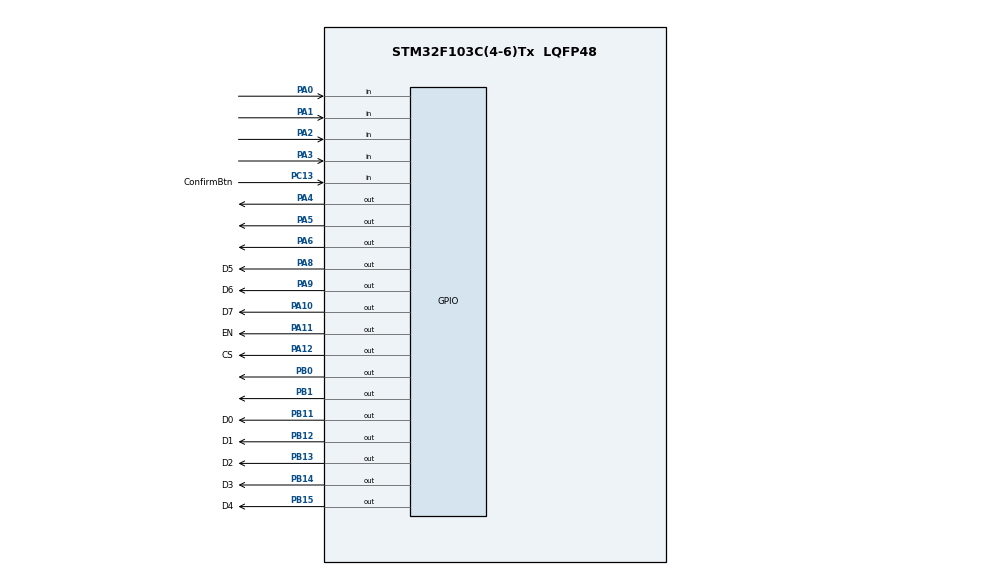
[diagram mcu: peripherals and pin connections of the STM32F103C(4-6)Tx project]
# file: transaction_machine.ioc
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Mcu.Family=STM32F1
Mcu.Name=STM32F103C(4-6)Tx
Mcu.Package=LQFP48
NVIC.PriorityGroup=NVIC_PRIORITYGROUP_4
PA0-WKUP.GPIO_PuPd=GPIO_PULLUP
PA0-WKUP.Signal=GPIO_Input
PA1.GPIO_PuPd=GPIO_PULLUP
PA1.Signal=GPIO_Input
PA10.GPIO_Label=D7
PA10.Signal=GPIO_Output
PA11.GPIO_Label=EN
PA11.Signal=GPIO_Output
PA12.GPIO_Label=CS
PA12.Signal=GPIO_Output
PA13.Mode=Serial_Wire
PA13.Signal=SYS_JTMS-SWDIO
PA14.Mode=Serial_Wire
PA14.Signal=SYS_JTCK-SWCLK
PA2.GPIO_PuPd=GPIO_PULLUP
PA2.Signal=GPIO_Input
PA3.GPIO_PuPd=GPIO_PULLUP
PA3.Signal=GPIO_Input
PA4.Signal=GPIO_Output
PA5.Signal=GPIO_Output
PA6.Signal=GPIO_Output
PA8.GPIO_Label=D5
PA8.Signal=GPIO_Output
PA9.GPIO_Label=D6
PA9.Signal=GPIO_Output
PB0.PinState=GPIO_PIN_RESET
PB0.Signal=GPIO_Output
PB1.Signal=GPIO_Output
PB11.GPIO_Label=D0
PB11.Signal=GPIO_Output
PB12.GPIO_Label=D1
PB12.Signal=GPIO_Output
PB13.GPIO_Label=D2
PB13.Signal=GPIO_Output
PB14.GPIO_Label=D3
PB14.Signal=GPIO_Output
PB15.GPIO_Label=D4
PB15.Signal=GPIO_Output
PC13-TAMPER-RTC.GPIO_Label=ConfirmBtn
PC13-TAMPER-RTC.Signal=GPIO_Input
PD0-OSC_IN.Mode=HSE-External-Clock-Source
PD0-OSC_IN.Signal=RCC_OSC_IN
PD1-OSC_OUT.Mode=HSE-External-Clock-Source
PD1-OSC_OUT.Signal=RCC_OSC_OUT
ProjectManager.HeapSize=0x200
ProjectManager.StackSize=0x400
ProjectManager.TargetToolchain=MDK-ARM V5.32
RCC.APB1Freq_Value=8000000
RCC.APB2Freq_Value=8000000
board=custom

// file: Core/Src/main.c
/* USER CODE BEGIN Header */
/**
  ******************************************************************************
  * @file           : main.c
  * @brief          : Main program body
  ******************************************************************************
  * @attention
  *
  * <h2><center>&copy; Copyright (c) 2021 STMicroelectronics.
  * All rights reserved.</center></h2>
  *
  * This software component is licensed by ST under BSD 3-Clause license,
  * the "License"; You may not use this file except in compliance with the
  * License. You may obtain a copy of the License at:
  *                        opensource.org/licenses/BSD-3-Clause
  *
  ******************************************************************************
  */
/* USER CODE END Header */
#include "main.h"

/* USER CODE BEGIN Includes */
#include "CLCD.h"
#include <stdio.h>
#include "KEYPAD.h"
#include <string.h>
/* USER CODE END Includes */

/* USER CODE BEGIN PV */
CLCD_Name LCD1;
char LCD_send[16];
char Key;

char accountUser[] = "20172514";
char passwordUser[] = "080799";
char accountType[8];
char passwordType[6];
char CodeType[6];
char Code1[] = "123456080799";
char Code2[] = "123789080799";

char classInfo1Reason1[3][21] = {"Software Technology","123456","Full class"};
char classInfo1Reason2[3][21] = {"Software Technology","123456","Coincident date"};
char classInfo1Reason3[3][21] = {"Software Technology","123456","Credit limitation"};

char classInfo2Reason1[3][21] = {"Digital processing","123789","Full class"};
char classInfo2Reason2[3][21] = {"Digital processing","123789","Coincident date"};
char classInfo2Reason3[3][21] = {"Digital processing","123789","Credit limitation"};

int classType1 = 0;
int classType2 = 0;
int classOrder = 0;
int classCount = 0;
unsigned int currentPosition = 0;

KEYPAD_Name KeyPad;
char KEYMAP[NUMROWS][NUMCOLS] = {
{'1','2','3'},
{'4','5','6'},
{'7','8','9'},
{'*','0','#'}
};
/* USER CODE END PV */

void SystemClock_Config(void);
static void MX_GPIO_Init(void);

int main(void)
{

  /* MCU Configuration--------------------------------------------------------*/

  /* Reset of all peripherals, Initializes the Flash interface and the Systick. */
  HAL_Init();

  /* Configure the system clock */
  SystemClock_Config();

  /* Initialize all configured peripherals */
  MX_GPIO_Init();
  /* USER CODE BEGIN 2 */
	CLCD_8BIT_Init(&LCD1, 20, 4, CS_GPIO_Port, CS_Pin, EN_GPIO_Port, EN_Pin,
									D0_GPIO_Port, D0_Pin, D1_GPIO_Port, D1_Pin,
									D2_GPIO_Port, D2_Pin, D3_GPIO_Port, D3_Pin,
									D4_GPIO_Port, D4_Pin, D5_GPIO_Port, D5_Pin,
									D6_GPIO_Port, D6_Pin, D7_GPIO_Port, D7_Pin);

	KEYPAD3X4_Init(&KeyPad, KEYMAP, GPIOA, GPIO_PIN_4, GPIOA, GPIO_PIN_5, GPIOA, GPIO_PIN_6,
																	GPIOA, GPIO_PIN_0, GPIOA, GPIO_PIN_1,
																	GPIOA, GPIO_PIN_2, GPIOA, GPIO_PIN_3);

		Login: CLCD_Clear(&LCD1);
		CLCD_SetCursor(&LCD1, 0, 0);
		CLCD_WriteString(&LCD1, "Please Login!");

			while (1) {
				if (HAL_GPIO_ReadPin(ConfirmBtn_GPIO_Port, ConfirmBtn_Pin) == 1) {
					break;
				}
				HAL_Delay(100);
			}

		TypeAgain: currentPosition = 0;
		CLCD_Clear(&LCD1);
		CLCD_SetCursor(&LCD1, 0, 0);
		CLCD_WriteString(&LCD1, "Type account: ");

  /* USER CODE END 2 */

  /* Infinite loop */
  /* USER CODE BEGIN WHILE */
  while (1)
  {
		CLCD_SetCursor(&LCD1, currentPosition, 1);
		CLCD_CursorOn(&LCD1);
		Key = KEYPAD3X4_Readkey(&KeyPad);
		if (Key == '*') {
					CLCD_CursorOff(&LCD1);
			currentPosition = 0;
					goto TypeAgain;
				}
		if (Key == '#') {
					CLCD_CursorOff(&LCD1);
			currentPosition = 0;
					goto Login;
				}
		if (Key) {

			accountType[currentPosition] = Key;
			CLCD_WriteChar(&LCD1, Key);
			currentPosition++;
		}
		HAL_Delay(100);
		if (currentPosition == 8) {
			currentPosition = 0;
			CLCD_CursorOff(&LCD1);
			break;
		}

  }

	Key = NULL;
			while (1) {
				if (HAL_GPIO_ReadPin(ConfirmBtn_GPIO_Port, ConfirmBtn_Pin) == 1) {
					break;
				}
				Key = KEYPAD3X4_Readkey(&KeyPad);
			if(Key == '#') {
				break;
			}
			if(Key == '*') {
				break;
			}

				HAL_Delay(100);
			}
			if (Key == '#') {
				goto Login;
			}
			if (Key == '*') {

					goto TypeAgain;
				}

	CLCD_SetCursor(&LCD1, 0, 2);
	CLCD_WriteString(&LCD1, "Type password: ");

	while (1)
  {
		CLCD_SetCursor(&LCD1, currentPosition, 3);
		CLCD_CursorOn(&LCD1);
		Key = KEYPAD3X4_Readkey(&KeyPad);

		if (Key == '*') {
					CLCD_CursorOff(&LCD1);
			currentPosition = 0;
					goto TypeAgain;
				}
		if (Key == '#') {
					CLCD_CursorOff(&LCD1);
			currentPosition = 0;
					goto Login;
				}
		if(Key) {

		passwordType[currentPosition] = Key;
		CLCD_WriteString(&LCD1, "*");
			currentPosition++;
		}
		HAL_Delay(100);

		if (currentPosition == 6) {
			currentPosition = 0;
			CLCD_CursorOff(&LCD1);
			break;
		}

  }

	Key = NULL;
			while (1) {
				if (HAL_GPIO_ReadPin(ConfirmBtn_GPIO_Port, ConfirmBtn_Pin) == 1) {
					break;
				}
				Key = KEYPAD3X4_Readkey(&KeyPad);
			if(Key == '#') {
				break;
			}
			if (Key == '*') {

					break;
				}

				HAL_Delay(100);
			}
			if (Key == '#') {
				goto Login;
			}
			if (Key == '*') {

					goto TypeAgain;
				}

	if(strcmp(accountUser, accountType)==0 && strcmp(passwordUser, passwordType)==0){
		CLCD_Clear(&LCD1);
		CLCD_SetCursor(&LCD1, 0, 0);
		CLCD_WriteString(&LCD1, "Welcome!");
		HAL_Delay(2000);

		ChooseFunction: CLCD_Clear(&LCD1);
		CLCD_SetCursor(&LCD1, 0, 0);
		CLCD_WriteString(&LCD1, "Tran Khuong Duy");
		CLCD_SetCursor(&LCD1, 0, 1);
		CLCD_WriteString(&LCD1, "20172514 DTVT08-K62");
		CLCD_SetCursor(&LCD1, 0, 2);
		CLCD_WriteString(&LCD1, "1.Apply Certificate");
		CLCD_SetCursor(&LCD1, 0, 3);
		CLCD_WriteString(&LCD1, "2.Register Class");

		Key = NULL;
		while(1) {
			Key = KEYPAD3X4_Readkey(&KeyPad);
			if(Key == '1' || Key == '2' || Key == '#') {
				break;
			}
			HAL_Delay(100);
		}

		if (Key == '1') {

			CLCD_Clear(&LCD1);
			CLCD_SetCursor(&LCD1, 0, 0);
			CLCD_WriteString(&LCD1, "Choose a objective:");
			CLCD_SetCursor(&LCD1, 0, 1);
			CLCD_WriteString(&LCD1, "1.Test TOEIC");
			CLCD_SetCursor(&LCD1, 0, 2);
			CLCD_WriteString(&LCD1, "2.Apply scholarship");
			CLCD_SetCursor(&LCD1, 0, 3);
			CLCD_WriteString(&LCD1, "3.Apply a job");

			Key = NULL;
		while(1) {
			Key = KEYPAD3X4_Readkey(&KeyPad);
			if(Key == '1' || Key == '2' || Key == '3' || Key == '#') {
				break;
			}

			HAL_Delay(100);
		}

			if (Key == '1') {

				CLCD_Clear(&LCD1);
				CLCD_SetCursor(&LCD1, 0, 0);
				CLCD_WriteString(&LCD1, "Confirm:");
				CLCD_SetCursor(&LCD1, 4, 1);
				CLCD_WriteString(&LCD1, "Tran Khuong Duy");
				CLCD_SetCursor(&LCD1, 0, 2);
				CLCD_WriteString(&LCD1, "SHSV: 20172514");
				CLCD_SetCursor(&LCD1, 0, 3);
				CLCD_WriteString(&LCD1, "Birthday: 8-7-1999");
				HAL_Delay(3000);

				CLCD_Clear(&LCD1);
				CLCD_SetCursor(&LCD1, 0, 0);
				CLCD_WriteString(&LCD1, "In: Vinh Phuc");
				CLCD_SetCursor(&LCD1, 0, 1);
				CLCD_WriteString(&LCD1, "Is student of class:");
				CLCD_SetCursor(&LCD1, 4, 2);
				CLCD_WriteString(&LCD1, "DTVT08-K62");
				CLCD_SetCursor(&LCD1, 0, 3);
				CLCD_WriteString(&LCD1, "Program: DHCQ");
				HAL_Delay(4000);

				CLCD_Clear(&LCD1);
				CLCD_SetCursor(&LCD1, 0, 0);
				CLCD_WriteString(&LCD1, "Objective:");
				CLCD_SetCursor(&LCD1, 4, 1);
				CLCD_WriteString(&LCD1, "Test TOEIC");
				CLCD_SetCursor(&LCD1, 0, 2);
				CLCD_WriteString(&LCD1, "Expiry date:");
				CLCD_SetCursor(&LCD1, 4, 3);
				CLCD_WriteString(&LCD1, "1-1-2022");
				HAL_Delay(3000);

			} else if (Key == '2') {
				CLCD_Clear(&LCD1);
				CLCD_SetCursor(&LCD1, 0, 0);
				CLCD_WriteString(&LCD1, "Confirm:");
				CLCD_SetCursor(&LCD1, 4, 1);
				CLCD_WriteString(&LCD1, "Tran Khuong Duy");
				CLCD_SetCursor(&LCD1, 0, 2);
				CLCD_WriteString(&LCD1, "SHSV: 20172514");
				CLCD_SetCursor(&LCD1, 0, 3);
				CLCD_WriteString(&LCD1, "Birthday: 8-7-1999");
				HAL_Delay(3000);

				CLCD_Clear(&LCD1);
				CLCD_SetCursor(&LCD1, 0, 0);
				CLCD_WriteString(&LCD1, "In: Vinh Phuc");
				CLCD_SetCursor(&LCD1, 0, 1);
				CLCD_WriteString(&LCD1, "Is student of class:");
				CLCD_SetCursor(&LCD1, 4, 2);
				CLCD_WriteString(&LCD1, "DTVT08-K62");
				CLCD_SetCursor(&LCD1, 0, 3);
				CLCD_WriteString(&LCD1, "Program: DHCQ");
				HAL_Delay(4000);

				CLCD_Clear(&LCD1);
				CLCD_SetCursor(&LCD1, 0, 0);
				CLCD_WriteString(&LCD1, "Objective:");
				CLCD_SetCursor(&LCD1, 3, 1);
				CLCD_WriteString(&LCD1, "Apply scholarship");
				CLCD_SetCursor(&LCD1, 0, 2);
				CLCD_WriteString(&LCD1, "Expiry date:");
				CLCD_SetCursor(&LCD1, 3, 3);
				CLCD_WriteString(&LCD1, "1-1-2022");
				HAL_Delay(3000);
			} else if (Key == '3') {
				CLCD_Clear(&LCD1);
				CLCD_SetCursor(&LCD1, 0, 0);
				CLCD_WriteString(&LCD1, "Confirm:");
				CLCD_SetCursor(&LCD1, 4, 1);
				CLCD_WriteString(&LCD1, "Tran Khuong Duy");
				CLCD_SetCursor(&LCD1, 0, 2);
				CLCD_WriteString(&LCD1, "SHSV: 20172514");
				CLCD_SetCursor(&LCD1, 0, 3);
				CLCD_WriteString(&LCD1, "Birthday: 8-7-1999");
				HAL_Delay(3000);

				CLCD_Clear(&LCD1);
				CLCD_SetCursor(&LCD1, 0, 0);
				CLCD_WriteString(&LCD1, "In: Vinh Phuc");
				CLCD_SetCursor(&LCD1, 0, 1);
				CLCD_WriteString(&LCD1, "Is student of class:");
				CLCD_SetCursor(&LCD1, 4, 2);
				CLCD_WriteString(&LCD1, "DTVT08-K62");
				CLCD_SetCursor(&LCD1, 0, 3);
				CLCD_WriteString(&LCD1, "Program: DHCQ");
				HAL_Delay(4000);

				CLCD_Clear(&LCD1);
				CLCD_SetCursor(&LCD1, 0, 0);
				CLCD_WriteString(&LCD1, "Objective:");
				CLCD_SetCursor(&LCD1, 4, 1);
				CLCD_WriteString(&LCD1, "Apply a job");
				CLCD_SetCursor(&LCD1, 0, 2);
				CLCD_WriteString(&LCD1, "Expiry date:");
				CLCD_SetCursor(&LCD1, 4, 3);
				CLCD_WriteString(&LCD1, "1-1-2022");
				HAL_Delay(3000);

			} else {
				goto ChooseFunction;

			}

			CLCD_Clear(&LCD1);
			CLCD_SetCursor(&LCD1, 0, 0);
			CLCD_WriteString(&LCD1, "Press Confirm to");
			CLCD_SetCursor(&LCD1, 2, 1);
			CLCD_WriteString(&LCD1, "print certificate!");

			Key = NULL;
			while (1) {
				if (HAL_GPIO_ReadPin(ConfirmBtn_GPIO_Port, ConfirmBtn_Pin) == 1) {
					break;
				}
				Key = KEYPAD3X4_Readkey(&KeyPad);
			if(Key == '#') {
				break;
			}

				HAL_Delay(100);
			}
			if (Key == '#') {
				goto ChooseFunction;
			}

			CLCD_Clear(&LCD1);
			CLCD_SetCursor(&LCD1, 0, 0);
			CLCD_WriteString(&LCD1, "Printing...");
			HAL_GPIO_WritePin(GPIOB, GPIO_PIN_0, GPIO_PIN_SET);
			HAL_GPIO_WritePin(GPIOB, GPIO_PIN_1, GPIO_PIN_RESET);
			HAL_Delay(2000);
			CLCD_Clear(&LCD1);
			CLCD_SetCursor(&LCD1, 0, 0);
			CLCD_WriteString(&LCD1, "Print successful");
			HAL_GPIO_WritePin(GPIOB, GPIO_PIN_0, GPIO_PIN_RESET);
			HAL_GPIO_WritePin(GPIOB, GPIO_PIN_1, GPIO_PIN_RESET);
			HAL_Delay(2000);

			CLCD_Clear(&LCD1);
			CLCD_SetCursor(&LCD1, 0, 0);
			CLCD_WriteString(&LCD1, "Do you want to");
			CLCD_SetCursor(&LCD1, 0, 1);
			CLCD_WriteString(&LCD1, "select the other");
			CLCD_SetCursor(&LCD1, 0, 2);
			CLCD_WriteString(&LCD1, "transaction?");

			Key = NULL;
			while(1) {
				Key = KEYPAD3X4_Readkey(&KeyPad);
				if(Key == '*' || Key == '#') {
					break;
				}
				HAL_Delay(100);
			}

			if (Key == '*') {
				goto ChooseFunction;
			} else {
				goto Login;
			}

		} else if (Key == '2') {

			RegisterClass: CLCD_Clear(&LCD1);
			CLCD_SetCursor(&LCD1, 0, 0);
			CLCD_WriteString(&LCD1, "1.Register new class");
			CLCD_SetCursor(&LCD1, 0, 1);
			CLCD_WriteString(&LCD1, "2.View classes");

			Key = NULL;
			while(1) {
				Key = KEYPAD3X4_Readkey(&KeyPad);
				if(Key == '1' || Key == '2' || Key == '#') {
					break;
				}
				HAL_Delay(100);
			}

			if (Key == '1') {

				if (classCount == 2) {
					CLCD_Clear(&LCD1);
					CLCD_SetCursor(&LCD1, 0, 0);
					CLCD_WriteString(&LCD1, "You only register");
					CLCD_SetCursor(&LCD1, 0, 1);
					CLCD_WriteString(&LCD1, "up to 2 classes");
					HAL_Delay(3000);
					goto RegisterClass;

				}

				TypeCodeAgain: CLCD_Clear(&LCD1);
				CLCD_SetCursor(&LCD1, 0, 0);
				CLCD_WriteString(&LCD1, "Enter class code:");

			while (1)
			{

				CLCD_SetCursor(&LCD1, currentPosition, 1);
				CLCD_CursorOn(&LCD1);
				Key = KEYPAD3X4_Readkey(&KeyPad);

				if (Key == '#') {
					CLCD_CursorOff(&LCD1);
					goto RegisterClass;
				}

				if(Key) {
				CodeType[currentPosition] = Key;
				CLCD_WriteChar(&LCD1, Key);
					currentPosition++;
				}
				HAL_Delay(100);

				if (currentPosition == 6) {
					currentPosition = 0;
					CLCD_CursorOff(&LCD1);
					break;
				}

			}

				Key = NULL;
			while (1) {
				if (HAL_GPIO_ReadPin(ConfirmBtn_GPIO_Port, ConfirmBtn_Pin) == 1) {
					break;
				}
				Key = KEYPAD3X4_Readkey(&KeyPad);
			if(Key == '#') {
				break;
			}

				HAL_Delay(100);
			}
			if (Key == '#') {
				goto RegisterClass;
			}

			if (strcmp(Code1, CodeType) == 0 && classOrder != 12) {

				if (classCount == 0) {
					classOrder = 12;

				}

				CLCD_Clear(&LCD1);
				CLCD_SetCursor(&LCD1, 0, 0);
				CLCD_WriteString(&LCD1, "Class Name: ");
				CLCD_SetCursor(&LCD1, 0, 1);
				CLCD_WriteString(&LCD1, "Software technology");
				HAL_Delay(3000);
				CLCD_Clear(&LCD1);
				CLCD_SetCursor(&LCD1, 0, 0);
				CLCD_WriteString(&LCD1, "Choose a reason:");
				CLCD_SetCursor(&LCD1, 0, 1);
				CLCD_WriteString(&LCD1, "1.Full class");
				CLCD_SetCursor(&LCD1, 0, 2);
				CLCD_WriteString(&LCD1, "2.Coincident date");
				CLCD_SetCursor(&LCD1, 0, 3);
				CLCD_WriteString(&LCD1, "3.Credit limitation");

				Key = NULL;
				while(1) {
					Key = KEYPAD3X4_Readkey(&KeyPad);
					if(Key == '1' || Key == '2' || Key == '3' || Key == '#') {
						break;
					}

					HAL_Delay(100);
				}

				if (Key == '1') {
					classType1 = 11;
					classCount++;
				} else if (Key == '2') {
					classCount++;
					classType1 = 12;
				} else if (Key == '3') {
					classCount++;
					classType1 = 13;
				} else {
					classOrder = 0;
					goto RegisterClass;
				}
				  HAL_Delay(1000);

		} else if (strcmp(Code2, CodeType) == 0 && classOrder != 21) {
			if (classCount == 0) {
					classOrder = 21;

				}

				CLCD_Clear(&LCD1);
				CLCD_SetCursor(&LCD1, 0, 0);
				CLCD_WriteString(&LCD1, "Class Name: ");
				CLCD_SetCursor(&LCD1, 0, 1);
				CLCD_WriteString(&LCD1, "Digital processing");
				HAL_Delay(3000);
				CLCD_Clear(&LCD1);
				CLCD_SetCursor(&LCD1, 0, 0);
				CLCD_WriteString(&LCD1, "Choose a reason:");
				CLCD_SetCursor(&LCD1, 0, 1);
				CLCD_WriteString(&LCD1, "1.Full class");
				CLCD_SetCursor(&LCD1, 0, 2);
				CLCD_WriteString(&LCD1, "2.Coincident date");
				CLCD_SetCursor(&LCD1, 0, 3);
				CLCD_WriteString(&LCD1, "3.Credit limitation");

				Key = NULL;
				while(1) {
					Key = KEYPAD3X4_Readkey(&KeyPad);
					if(Key == '1' || Key == '2' || Key == '3' || Key == '#') {
						break;
					}

					HAL_Delay(100);
				}

				if (Key == '1') {
					classType2 = 21;
					classCount++;
				} else if (Key == '2') {
					classCount++;
					classType2 = 22;
				} else if (Key == '3') {
					classCount++;
					classType2 = 23;
				} else {
					goto RegisterClass;
				}
				  HAL_Delay(1000);

		} else if ((strcmp(Code1, CodeType) == 0 && classOrder == 12 && classType1 != 0) || (strcmp(Code2, CodeType) == 0 && classOrder == 21 && classType2 != 0)) {
			CLCD_Clear(&LCD1);
			CLCD_SetCursor(&LCD1, 0, 0);
			CLCD_WriteString(&LCD1, "You already");
			CLCD_SetCursor(&LCD1, 0, 1);
			CLCD_WriteString(&LCD1, "signed up this class");
			HAL_Delay(3000);
			goto TypeCodeAgain;

		} else {
			CLCD_Clear(&LCD1);
			CLCD_SetCursor(&LCD1, 0, 0);
			CLCD_WriteString(&LCD1, "Incorrect code");
			CLCD_SetCursor(&LCD1, 0, 1);
			CLCD_WriteString(&LCD1, "Please try again");
			HAL_Delay(3000);
			goto TypeCodeAgain;
		}

					CLCD_Clear(&LCD1);
					CLCD_SetCursor(&LCD1, 0, 0);
					CLCD_WriteString(&LCD1, "Sent Registration");
					CLCD_SetCursor(&LCD1, 0, 1);
					CLCD_WriteString(&LCD1, "Please wait ");
					CLCD_SetCursor(&LCD1, 0, 2);
					CLCD_WriteString(&LCD1, "to response!");
					HAL_Delay(3000);

					CLCD_Clear(&LCD1);
					CLCD_SetCursor(&LCD1, 0, 0);
					CLCD_WriteString(&LCD1, "Do you want to");
					CLCD_SetCursor(&LCD1, 0, 1);
					CLCD_WriteString(&LCD1, "select the other");
					CLCD_SetCursor(&LCD1, 0, 2);
					CLCD_WriteString(&LCD1, "transaction?");

					Key = NULL;
					while(1) {
						Key = KEYPAD3X4_Readkey(&KeyPad);
						if(Key == '*' || Key == '#') {
							break;
						}
						HAL_Delay(100);
					}

					if (Key == '*') {
						goto ChooseFunction;
					} else {
						goto Login;
					}

			} else if (Key == '2') {

				if (classCount == 1) {
						if (classOrder == 12) {

							CLCD_Clear(&LCD1);
							CLCD_SetCursor(&LCD1, 0, 0);
							CLCD_WriteString(&LCD1, "1.");
							CLCD_SetCursor(&LCD1, 1, 1);
							CLCD_WriteString(&LCD1, "Software technology");
							Key = NULL;
					while(1) {
						Key = KEYPAD3X4_Readkey(&KeyPad);
						if(Key == '1' || Key == '#') {
							break;
						}
						HAL_Delay(100);
					}

					if (Key == '1') {
						if (classType1 == 11) {
								CLCD_Clear(&LCD1);
								CLCD_SetCursor(&LCD1, 0, 0);
								CLCD_WriteString(&LCD1, "Software technology");
								CLCD_SetCursor(&LCD1, 0, 1);
								CLCD_WriteString(&LCD1, "Code: 123456");
								CLCD_SetCursor(&LCD1, 0, 2);
								CLCD_WriteString(&LCD1, "Reason: ");
								CLCD_SetCursor(&LCD1, 3, 3);
								CLCD_WriteString(&LCD1, "Full class");

							} else if (classType1 == 12) {
								CLCD_Clear(&LCD1);
								CLCD_SetCursor(&LCD1, 0, 0);
								CLCD_WriteString(&LCD1, "Software technology");
								CLCD_SetCursor(&LCD1, 0, 1);
								CLCD_WriteString(&LCD1, "Code: 123456");
								CLCD_SetCursor(&LCD1, 0, 2);
								CLCD_WriteString(&LCD1, "Reason: ");
								CLCD_SetCursor(&LCD1, 0, 3);
								CLCD_WriteString(&LCD1, "Coincident date");

							} else {
								CLCD_Clear(&LCD1);
								CLCD_SetCursor(&LCD1, 0, 0);
								CLCD_WriteString(&LCD1, "Software technology");
								CLCD_SetCursor(&LCD1, 0, 1);
								CLCD_WriteString(&LCD1, "Code: 123456");
								CLCD_SetCursor(&LCD1, 0, 2);
								CLCD_WriteString(&LCD1, "Reason: ");
								CLCD_SetCursor(&LCD1, 0, 3);
								CLCD_WriteString(&LCD1, "Credit limitation");
							}

							}  else {
									goto RegisterClass;

							}

						} else {

							CLCD_Clear(&LCD1);
							CLCD_SetCursor(&LCD1, 0, 0);
							CLCD_WriteString(&LCD1, "1.Digital processing");

							Key = NULL;
					while(1) {
						Key = KEYPAD3X4_Readkey(&KeyPad);
						if(Key == '1' || Key == '#') {
							break;
						}
						HAL_Delay(100);
					}

					if (Key == '1') {
						if (classType2 == 21) {
								CLCD_Clear(&LCD1);
								CLCD_SetCursor(&LCD1, 0, 0);
								CLCD_WriteString(&LCD1, "Digital processing");
								CLCD_SetCursor(&LCD1, 0, 1);
								CLCD_WriteString(&LCD1, "Code: 123789");
								CLCD_SetCursor(&LCD1, 0, 2);
								CLCD_WriteString(&LCD1, "Reason: ");
								CLCD_SetCursor(&LCD1, 3, 3);
								CLCD_WriteString(&LCD1, "Full class");

							} else if (classType2 == 22) {
								CLCD_Clear(&LCD1);
								CLCD_SetCursor(&LCD1, 0, 0);
								CLCD_WriteString(&LCD1, "Digital processing");
								CLCD_SetCursor(&LCD1, 0, 1);
								CLCD_WriteString(&LCD1, "Code: 123789");
								CLCD_SetCursor(&LCD1, 0, 2);
								CLCD_WriteString(&LCD1, "Reason: ");
								CLCD_SetCursor(&LCD1, 0, 3);
								CLCD_WriteString(&LCD1, "Coincident date");

							} else {
								CLCD_Clear(&LCD1);
								CLCD_SetCursor(&LCD1, 0, 0);
								CLCD_WriteString(&LCD1, "Digital processing");
								CLCD_SetCursor(&LCD1, 0, 1);
								CLCD_WriteString(&LCD1, "Code: 123789");
								CLCD_SetCursor(&LCD1, 0, 2);
								CLCD_WriteString(&LCD1, "Reason: ");
								CLCD_SetCursor(&LCD1, 0, 3);
								CLCD_WriteString(&LCD1, "Credit limitation");
							}
					} else {

									goto RegisterClass;

					}

						}
				} else if (classCount == 2) {

							if (classOrder == 12) {

							CLCD_Clear(&LCD1);
							CLCD_SetCursor(&LCD1, 0, 0);
							CLCD_WriteString(&LCD1, "1.");
							CLCD_SetCursor(&LCD1, 1, 1);
							CLCD_WriteString(&LCD1, "Software technology");
							CLCD_SetCursor(&LCD1, 0, 2);
							CLCD_WriteString(&LCD1, "2.Digital processing");

							Key = NULL;
					while(1) {
						Key = KEYPAD3X4_Readkey(&KeyPad);
						if(Key == '1' || Key == '2' || Key == '#') {
							break;
						}
						HAL_Delay(100);
					}

					if (Key == '1') {
						if (classType1 == 11) {
								CLCD_Clear(&LCD1);
								CLCD_SetCursor(&LCD1, 0, 0);
								CLCD_WriteString(&LCD1, "Software technology");
								CLCD_SetCursor(&LCD1, 0, 1);
								CLCD_WriteString(&LCD1, "Code: 123456");
								CLCD_SetCursor(&LCD1, 0, 2);
								CLCD_WriteString(&LCD1, "Reason: ");
								CLCD_SetCursor(&LCD1, 3, 3);
								CLCD_WriteString(&LCD1, "Full class");

							} else if (classType1 == 12) {
								CLCD_Clear(&LCD1);
								CLCD_SetCursor(&LCD1, 0, 0);
								CLCD_WriteString(&LCD1, "Software technology");
								CLCD_SetCursor(&LCD1, 0, 1);
								CLCD_WriteString(&LCD1, "Code: 123456");
								CLCD_SetCursor(&LCD1, 0, 2);
								CLCD_WriteString(&LCD1, "Reason: ");
								CLCD_SetCursor(&LCD1, 0, 3);
								CLCD_WriteString(&LCD1, "Coincident date");

							} else {
								CLCD_Clear(&LCD1);
								CLCD_SetCursor(&LCD1, 0, 0);
								CLCD_WriteString(&LCD1, "Software technology");
								CLCD_SetCursor(&LCD1, 0, 1);
								CLCD_WriteString(&LCD1, "Code: 123456");
								CLCD_SetCursor(&LCD1, 0, 2);
								CLCD_WriteString(&LCD1, "Reason: ");
								CLCD_SetCursor(&LCD1, 0, 3);
								CLCD_WriteString(&LCD1, "Credit limitation");
							}

							} else if (Key == '2'){
								if (classType2 == 21) {
								CLCD_Clear(&LCD1);
								CLCD_SetCursor(&LCD1, 0, 0);
								CLCD_WriteString(&LCD1, "Digital processing");
								CLCD_SetCursor(&LCD1, 0, 1);
								CLCD_WriteString(&LCD1, "Code: 123789");
								CLCD_SetCursor(&LCD1, 0, 2);
								CLCD_WriteString(&LCD1, "Reason: ");
								CLCD_SetCursor(&LCD1, 3, 3);
								CLCD_WriteString(&LCD1, "Full class");

							} else if (classType2 == 22) {
								CLCD_Clear(&LCD1);
								CLCD_SetCursor(&LCD1, 0, 0);
								CLCD_WriteString(&LCD1, "Digital processing");
								CLCD_SetCursor(&LCD1, 0, 1);
								CLCD_WriteString(&LCD1, "Code: 123789");
								CLCD_SetCursor(&LCD1, 0, 2);
								CLCD_WriteString(&LCD1, "Reason: ");
								CLCD_SetCursor(&LCD1, 0, 3);
								CLCD_WriteString(&LCD1, "Coincident date");

							} else {
								CLCD_Clear(&LCD1);
								CLCD_SetCursor(&LCD1, 0, 0);
								CLCD_WriteString(&LCD1, "Digital processing");
								CLCD_SetCursor(&LCD1, 0, 1);
								CLCD_WriteString(&LCD1, "Code: 123789");
								CLCD_SetCursor(&LCD1, 0, 2);
								CLCD_WriteString(&LCD1, "Reason: ");
								CLCD_SetCursor(&LCD1, 0, 3);
								CLCD_WriteString(&LCD1, "Credit limitation");
							}
							} else {

									goto RegisterClass;

							}

						} else {

							CLCD_Clear(&LCD1);
							CLCD_SetCursor(&LCD1, 0, 0);
							CLCD_WriteString(&LCD1, "1.Digital processing");
							CLCD_SetCursor(&LCD1, 0, 1);
							CLCD_WriteString(&LCD1, "2.");
							CLCD_SetCursor(&LCD1, 1, 2);
							CLCD_WriteString(&LCD1, "Software technology");

							Key = NULL;
					while(1) {
						Key = KEYPAD3X4_Readkey(&KeyPad);
						if(Key == '1' || Key == '2' || Key == '#') {
							break;
						}
						HAL_Delay(100);
					}

					if (Key == '1') {
						if (classType2 == 21) {
								CLCD_Clear(&LCD1);
								CLCD_SetCursor(&LCD1, 0, 0);
								CLCD_WriteString(&LCD1, "Digital processing");
								CLCD_SetCursor(&LCD1, 0, 1);
								CLCD_WriteString(&LCD1, "Code: 123789");
								CLCD_SetCursor(&LCD1, 0, 2);
								CLCD_WriteString(&LCD1, "Reason: ");
								CLCD_SetCursor(&LCD1, 3, 3);
								CLCD_WriteString(&LCD1, "Full class");

							} else if (classType2 == 22) {
								CLCD_Clear(&LCD1);
								CLCD_SetCursor(&LCD1, 0, 0);
								CLCD_WriteString(&LCD1, "Digital processing");
								CLCD_SetCursor(&LCD1, 0, 1);
								CLCD_WriteString(&LCD1, "Code: 123789");
								CLCD_SetCursor(&LCD1, 0, 2);
								CLCD_WriteString(&LCD1, "Reason: ");
								CLCD_SetCursor(&LCD1, 0, 3);
								CLCD_WriteString(&LCD1, "Coincident date");

							} else {
								CLCD_Clear(&LCD1);
								CLCD_SetCursor(&LCD1, 0, 0);
								CLCD_WriteString(&LCD1, "Digital processing");
								CLCD_SetCursor(&LCD1, 0, 1);
								CLCD_WriteString(&LCD1, "Code: 123789");
								CLCD_SetCursor(&LCD1, 0, 2);
								CLCD_WriteString(&LCD1, "Reason: ");
								CLCD_SetCursor(&LCD1, 0, 3);
								CLCD_WriteString(&LCD1, "Credit limitation");
							}
					} else if (Key == '2'){
								if (classType1 == 11) {
								CLCD_Clear(&LCD1);
								CLCD_SetCursor(&LCD1, 0, 0);
								CLCD_WriteString(&LCD1, "Software technology");
								CLCD_SetCursor(&LCD1, 0, 1);
								CLCD_WriteString(&LCD1, "Code: 123456");
								CLCD_SetCursor(&LCD1, 0, 2);
								CLCD_WriteString(&LCD1, "Reason: ");
								CLCD_SetCursor(&LCD1, 3, 3);
								CLCD_WriteString(&LCD1, "Full class");

							} else if (classType1 == 12) {
								CLCD_Clear(&LCD1);
								CLCD_SetCursor(&LCD1, 0, 0);
								CLCD_WriteString(&LCD1, "Software technology");
								CLCD_SetCursor(&LCD1, 0, 1);
								CLCD_WriteString(&LCD1, "Code: 123456");
								CLCD_SetCursor(&LCD1, 0, 2);
								CLCD_WriteString(&LCD1, "Reason: ");
								CLCD_SetCursor(&LCD1, 0, 3);
								CLCD_WriteString(&LCD1, "Coincident date");

							} else {
								CLCD_Clear(&LCD1);
								CLCD_SetCursor(&LCD1, 0, 0);
								CLCD_WriteString(&LCD1, "Software technology");
								CLCD_SetCursor(&LCD1, 0, 1);
								CLCD_WriteString(&LCD1, "Code: 123456");
								CLCD_SetCursor(&LCD1, 0, 2);
								CLCD_WriteString(&LCD1, "Reason: ");
								CLCD_SetCursor(&LCD1, 0, 3);
								CLCD_WriteString(&LCD1, "Credit limitation");
							}
					}		 else {
									goto RegisterClass;

					}

						}
				} else {
					CLCD_Clear(&LCD1);
					CLCD_SetCursor(&LCD1, 0, 0);
					CLCD_WriteString(&LCD1, "You dont register");
					CLCD_SetCursor(&LCD1, 3, 1);
					CLCD_WriteString(&LCD1, "any class!");
			}

								Key = NULL;
								while(1) {
									Key = KEYPAD3X4_Readkey(&KeyPad);
									if(Key == '#') {
										break;
									}
									HAL_Delay(100);
								}

								if (Key == '#') {
									goto RegisterClass;
								}
		} else {
			goto ChooseFunction;
		}
	} else{

		goto Login;
	}

} else {
		CLCD_Clear(&LCD1);
		CLCD_SetCursor(&LCD1, 0, 0);
		CLCD_WriteString(&LCD1,"Incorrect account");
		CLCD_SetCursor(&LCD1, 0, 1);
		CLCD_WriteString(&LCD1,"or password");
		CLCD_SetCursor(&LCD1, 0, 2);
		CLCD_WriteString(&LCD1,"Please try again");
		HAL_Delay(3000);
		goto TypeAgain;
}
  /* USER CODE END 3 */
}

void SystemClock_Config(void)
{
  RCC_OscInitTypeDef RCC_OscInitStruct = {0};
  RCC_ClkInitTypeDef RCC_ClkInitStruct = {0};

  /** Initializes the RCC Oscillators according to the specified parameters
  * in the RCC_OscInitTypeDef structure.
  */
  RCC_OscInitStruct.OscillatorType = RCC_OSCILLATORTYPE_HSI;
  RCC_OscInitStruct.HSIState = RCC_HSI_ON;
  RCC_OscInitStruct.HSICalibrationValue = RCC_HSICALIBRATION_DEFAULT;
  RCC_OscInitStruct.PLL.PLLState = RCC_PLL_NONE;
  if (HAL_RCC_OscConfig(&RCC_OscInitStruct) != HAL_OK)
  {
    Error_Handler();
  }
  /** Initializes the CPU, AHB and APB buses clocks
  */
  RCC_ClkInitStruct.ClockType = RCC_CLOCKTYPE_HCLK|RCC_CLOCKTYPE_SYSCLK
                              |RCC_CLOCKTYPE_PCLK1|RCC_CLOCKTYPE_PCLK2;
  RCC_ClkInitStruct.SYSCLKSource = RCC_SYSCLKSOURCE_HSI;
  RCC_ClkInitStruct.AHBCLKDivider = RCC_SYSCLK_DIV1;
  RCC_ClkInitStruct.APB1CLKDivider = RCC_HCLK_DIV1;
  RCC_ClkInitStruct.APB2CLKDivider = RCC_HCLK_DIV1;

  if (HAL_RCC_ClockConfig(&RCC_ClkInitStruct, FLASH_LATENCY_0) != HAL_OK)
  {
    Error_Handler();
  }
}

static void MX_GPIO_Init(void)
{
  GPIO_InitTypeDef GPIO_InitStruct = {0};

  /* GPIO Ports Clock Enable */
  __HAL_RCC_GPIOC_CLK_ENABLE();
  __HAL_RCC_GPIOD_CLK_ENABLE();
  __HAL_RCC_GPIOA_CLK_ENABLE();
  __HAL_RCC_GPIOB_CLK_ENABLE();

  /*Configure GPIO pin Output Level */
  HAL_GPIO_WritePin(GPIOA, GPIO_PIN_4|GPIO_PIN_5|GPIO_PIN_6|D5_Pin
                          |D6_Pin|D7_Pin|EN_Pin|CS_Pin, GPIO_PIN_RESET);

  /*Configure GPIO pin Output Level */
  HAL_GPIO_WritePin(GPIOB, GPIO_PIN_0|GPIO_PIN_1|D0_Pin|D1_Pin
                          |D2_Pin|D3_Pin|D4_Pin, GPIO_PIN_RESET);

  /*Configure GPIO pin : ConfirmBtn_Pin */
  GPIO_InitStruct.Pin = ConfirmBtn_Pin;
  GPIO_InitStruct.Mode = GPIO_MODE_INPUT;
  GPIO_InitStruct.Pull = GPIO_NOPULL;
  HAL_GPIO_Init(ConfirmBtn_GPIO_Port, &GPIO_InitStruct);

  /*Configure GPIO pins : PA0 PA1 PA2 PA3 */
  GPIO_InitStruct.Pin = GPIO_PIN_0|GPIO_PIN_1|GPIO_PIN_2|GPIO_PIN_3;
  GPIO_InitStruct.Mode = GPIO_MODE_INPUT;
  GPIO_InitStruct.Pull = GPIO_PULLUP;
  HAL_GPIO_Init(GPIOA, &GPIO_InitStruct);

  /*Configure GPIO pins : PA4 PA5 PA6 D5_Pin
                           D6_Pin D7_Pin EN_Pin CS_Pin */
  GPIO_InitStruct.Pin = GPIO_PIN_4|GPIO_PIN_5|GPIO_PIN_6|D5_Pin
                          |D6_Pin|D7_Pin|EN_Pin|CS_Pin;
  GPIO_InitStruct.Mode = GPIO_MODE_OUTPUT_PP;
  GPIO_InitStruct.Pull = GPIO_NOPULL;
  GPIO_InitStruct.Speed = GPIO_SPEED_FREQ_LOW;
  HAL_GPIO_Init(GPIOA, &GPIO_InitStruct);

  /*Configure GPIO pins : PB0 PB1 D0_Pin D1_Pin
                           D2_Pin D3_Pin D4_Pin */
  GPIO_InitStruct.Pin = GPIO_PIN_0|GPIO_PIN_1|D0_Pin|D1_Pin
                          |D2_Pin|D3_Pin|D4_Pin;
  GPIO_InitStruct.Mode = GPIO_MODE_OUTPUT_PP;
  GPIO_InitStruct.Pull = GPIO_NOPULL;
  GPIO_InitStruct.Speed = GPIO_SPEED_FREQ_LOW;
  HAL_GPIO_Init(GPIOB, &GPIO_InitStruct);

}

void Error_Handler(void)
{
  __disable_irq();
  while (1)
  {
  }
}

/************************ (C) COPYRIGHT STMicroelectronics *****END OF FILE****/
